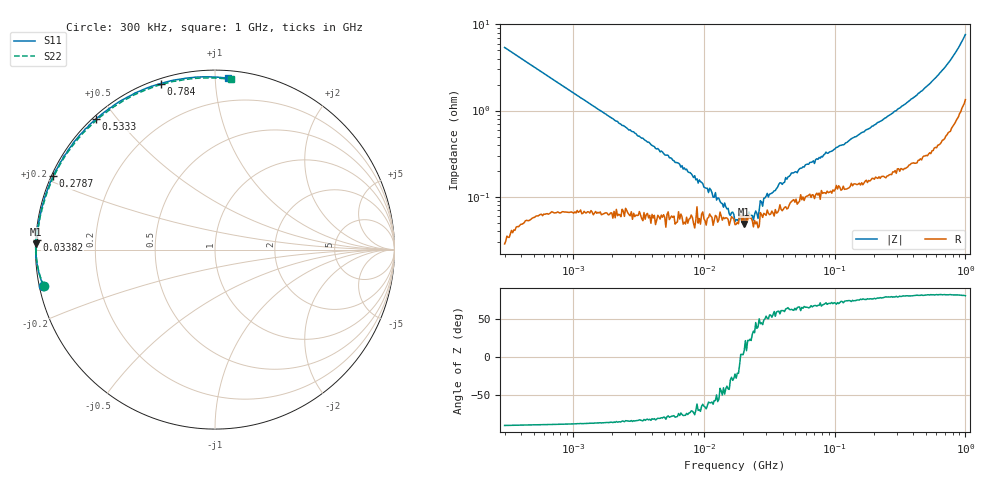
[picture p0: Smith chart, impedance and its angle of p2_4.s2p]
#  HZ  S  RI  R  50
! Rohde & Schwarz ZVA/B
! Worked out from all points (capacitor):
!   401 points, 300 kHz to 1 GHz, reference 50 ohm
!   read as one part in shunt: C = 98.4 nF near 312.4 kHz
!   lowest |Z| = 48.5 mohm at 20.37 MHz (marker M1)
!   series resonance near 19.08 MHz, so ESL is about 710 pH
!   S11 on the Smith chart (normalised r, x): 300 kHz: 0.01, -0.11; 33.82 MHz: 0.00, +0.03; 278.7 MHz: 0.00, +0.22; 533.3 MHz: 0.01, +0.44; 784 MHz: 0.02, +0.72; 1 GHz: 0.05, +1.08
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300000  -0.9555 -0.2034  0.0451 -0.2061  0.0455 -0.2068  -0.9537 -0.2037
1167356  -0.995 -0.0528  0.00546 -0.0549  0.00564 -0.0549  -0.9942 -0.0531
4542403  -0.9979 -0.0071  0.00242 -0.0138  0.00257 -0.0137  -0.9963 -0.00577
9426375  -0.9986 0.00807  0.00187 -0.00568  0.00201 -0.00573  -0.9959 0.00888
1.043232e7  -0.9976 0.00992  0.00182 -0.00466  0.00189 -0.00455  -0.9952 0.0113
1.472662e7  -0.9978 0.0211  0.00224 -0.00208  0.00213 -0.00248  -0.9978 0.0206
1.732051e7  -0.9979 0.025  0.00187 -0.00083  0.00221 -0.000854  -0.9955 0.0252
2.037127e7  -0.9976 0.0301  0.00192 0.000213  0.00217 9.45e-05  -0.996 0.0311
2.209261e7  -0.9973 0.0347  0.00252 0.000873  0.00257 0.0013  -0.9964 0.0327
2.495113e7  -0.9962 0.0378  0.00201 0.00184  0.00209 0.00182  -0.9952 0.0396
2.81795e7  -0.9971 0.0421  0.00239 0.00197  0.00212 0.00276  -0.9957 0.0443
3.382191e7  -0.9943 0.0528  0.00278 0.00354  0.00297 0.00373  -0.9947 0.0546
4.584649e7  -0.9926 0.0702  0.00383 0.00598  0.00372 0.0061  -0.9917 0.0743
6.739735e7  -0.9895 0.1047  0.00513 0.00862  0.00513 0.00891  -0.986 0.1068
1.456519e8  -0.9688 0.22  0.00953 0.017  0.00937 0.0173  -0.9646 0.2245
2.622557e8  -0.9112 0.3889  0.0192 0.0274  0.0192 0.0275  -0.9035 0.3929
2.787062e8  -0.9019 0.4107  0.0211 0.0284  0.021 0.0288  -0.8932 0.4169
4.014913e8  -0.8046 0.5727  0.0362 0.0355  0.0362 0.0356  -0.7943 0.5779
5.333065e8  -0.6627 0.7278  0.0561 0.0369  0.0563 0.0371  -0.6508 0.7301
6.53204e8  -0.5042 0.8402  0.0773 0.0322  0.0769 0.0319  -0.4888 0.8406
7.839956e8  -0.3031 0.925  0.1003 0.0173  0.1003 0.0171  -0.2866 0.9227
1e9  0.0731 0.9546  0.1298 -0.0294  0.1302 -0.0289  0.0912 0.9492
